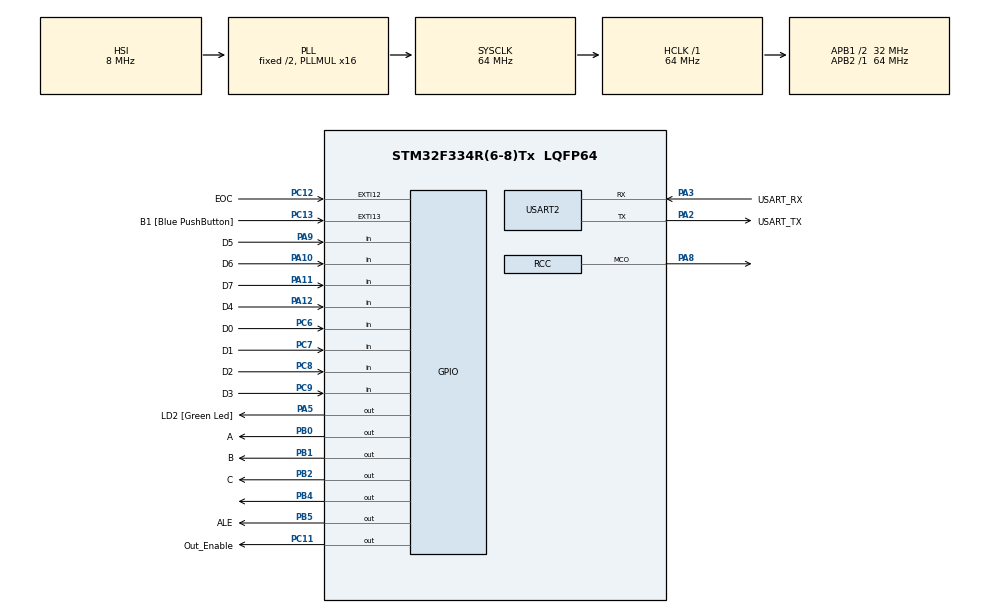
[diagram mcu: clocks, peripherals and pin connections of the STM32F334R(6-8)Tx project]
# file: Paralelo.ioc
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Mcu.Family=STM32F3
Mcu.Name=STM32F334R(6-8)Tx
Mcu.Package=LQFP64
NVIC.PriorityGroup=NVIC_PRIORITYGROUP_0
PA10.GPIO_Label=D6
PA10.Signal=GPIO_Input
PA11.GPIO_Label=D7
PA11.Signal=GPIO_Input
PA12.GPIO_Label=D4
PA12.Signal=GPIO_Input
PA13.GPIO_Label=TMS
PA13.Mode=Serial_Wire
PA13.Signal=SYS_JTMS-SWDIO
PA14.GPIO_Label=TCK
PA14.Mode=Serial_Wire
PA14.Signal=SYS_JTCK-SWCLK
PA2.GPIO_Label=USART_TX
PA2.Mode=Asynchronous
PA2.Signal=USART2_TX
PA3.GPIO_Label=USART_RX
PA3.Mode=Asynchronous
PA3.Signal=USART2_RX
PA5.GPIO_Label=LD2 [Green Led]
PA5.Signal=GPIO_Output
PA8.Mode=Clock-out
PA8.Signal=RCC_MCO
PA9.GPIO_Label=D5
PA9.Signal=GPIO_Input
PB0.GPIO_Label=A
PB0.Signal=GPIO_Output
PB1.GPIO_Label=B
PB1.Signal=GPIO_Output
PB2.GPIO_Label=C
PB2.Signal=GPIO_Output
PB3.GPIO_Label=SWO
PB3.Signal=SYS_JTDO-TRACESWO
PB4.Signal=GPIO_Output
PB5.GPIO_Label=ALE
PB5.Signal=GPIO_Output
PC11.GPIO_Label=Out_Enable
PC11.Signal=GPIO_Output
PC12.GPIO_Label=EOC
PC12.Signal=GPXTI12
PC13.GPIO_Label=B1 [Blue PushButton]
PC13.GPIO_ModeDefaultEXTI=GPIO_MODE_IT_FALLING
PC13.Signal=GPXTI13
PC14\ /\ OSC32_IN.Signal=RCC_OSC32_IN
PC15\ /\ OSC32_OUT.GPIO_Label=RCC_OSC32_OUT
PC15\ /\ OSC32_OUT.Signal=RCC_OSC32_OUT
PC6.GPIO_Label=D0
PC6.Signal=GPIO_Input
PC7.GPIO_Label=D1
PC7.Signal=GPIO_Input
PC8.GPIO_Label=D2
PC8.Signal=GPIO_Input
PC9.GPIO_Label=D3
PC9.Signal=GPIO_Input
PF0\ /\ OSC_IN.Mode=HSE-External-Clock-Source
PF0\ /\ OSC_IN.Signal=RCC_OSC_IN
PF1\ /\ OSC_OUT.Signal=RCC_OSC_OUT
ProjectManager.HeapSize=0x200
ProjectManager.StackSize=0x400
ProjectManager.TargetToolchain=STM32CubeIDE
RCC.AHBFreq_Value=64000000
RCC.APB1CLKDivider=RCC_HCLK_DIV2
RCC.APB1Freq_Value=32000000
RCC.APB1TimFreq_Value=64000000
RCC.APB2Freq_Value=64000000
RCC.APB2TimFreq_Value=64000000
RCC.CortexFreq_Value=64000000
RCC.FLatency-AdvancedSettings=FLASH_LATENCY_2
RCC.HCLKFreq_Value=64000000
RCC.HSE_VALUE=8000000
RCC.HSI_VALUE=8000000
RCC.PLLMUL=RCC_PLL_MUL16
RCC.RCC_MCOSource=RCC_MCO1SOURCE_LSI
RCC.SYSCLKFreq_VALUE=64000000
RCC.SYSCLKSourceVirtual=RCC_SYSCLKSOURCE_PLLCLK
USART2.VirtualMode-Asynchronous=VM_ASYNC
board=NUCLEO-F334R8

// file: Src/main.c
/* USER CODE BEGIN Header */
/**
  ******************************************************************************
  * @file           : main.c
  * @brief          : Main program body
  ******************************************************************************
  * @attention
  *
  * <h2><center>&copy; Copyright (c) 2019 STMicroelectronics.
  * All rights reserved.</center></h2>
  *
  * This software component is licensed by ST under BSD 3-Clause license,
  * the "License"; You may not use this file except in compliance with the
  * License. You may obtain a copy of the License at:
  *                        opensource.org/licenses/BSD-3-Clause
  *
  ******************************************************************************
  */
/* USER CODE END Header */

#include "main.h"

UART_HandleTypeDef huart2;

void SystemClock_Config(void);
static void MX_GPIO_Init(void);
static void MX_USART2_UART_Init(void);

int main(void)
{

  /* MCU Configuration--------------------------------------------------------*/

  /* Reset of all peripherals, Initializes the Flash interface and the Systick. */
  HAL_Init();

  /* Configure the system clock */
  SystemClock_Config();

  /* Initialize all configured peripherals */
  MX_GPIO_Init();
  MX_USART2_UART_Init();
  /* USER CODE BEGIN 2 */
  char add[3] = {0,0,0};
  char ValorLido;

  HAL_GPIO_WritePin(GPIOA, GPIO_PIN_5, (add & 0x01));
  HAL_GPIO_WritePin(GPIOA, GPIO_PIN_6, ((add & 0x02)>>1));
  HAL_GPIO_WritePin(GPIOA, GPIO_PIN_7, ((add & 0x04)>>2));
  /* USER CODE END 2 */

  /* Infinite loop */
  while (1)
  {

  }
}

void SystemClock_Config(void)
{
  RCC_OscInitTypeDef RCC_OscInitStruct = {0};
  RCC_ClkInitTypeDef RCC_ClkInitStruct = {0};

  /** Initializes the CPU, AHB and APB busses clocks
  */
  RCC_OscInitStruct.OscillatorType = RCC_OSCILLATORTYPE_HSI|RCC_OSCILLATORTYPE_LSI;
  RCC_OscInitStruct.HSIState = RCC_HSI_ON;
  RCC_OscInitStruct.HSICalibrationValue = RCC_HSICALIBRATION_DEFAULT;
  RCC_OscInitStruct.LSIState = RCC_LSI_ON;
  RCC_OscInitStruct.PLL.PLLState = RCC_PLL_ON;
  RCC_OscInitStruct.PLL.PLLSource = RCC_PLLSOURCE_HSI;
  RCC_OscInitStruct.PLL.PLLMUL = RCC_PLL_MUL16;
  if (HAL_RCC_OscConfig(&RCC_OscInitStruct) != HAL_OK)
  {
    Error_Handler();
  }
  /** Initializes the CPU, AHB and APB busses clocks
  */
  RCC_ClkInitStruct.ClockType = RCC_CLOCKTYPE_HCLK|RCC_CLOCKTYPE_SYSCLK
                              |RCC_CLOCKTYPE_PCLK1|RCC_CLOCKTYPE_PCLK2;
  RCC_ClkInitStruct.SYSCLKSource = RCC_SYSCLKSOURCE_PLLCLK;
  RCC_ClkInitStruct.AHBCLKDivider = RCC_SYSCLK_DIV1;
  RCC_ClkInitStruct.APB1CLKDivider = RCC_HCLK_DIV2;
  RCC_ClkInitStruct.APB2CLKDivider = RCC_HCLK_DIV1;

  if (HAL_RCC_ClockConfig(&RCC_ClkInitStruct, FLASH_LATENCY_2) != HAL_OK)
  {
    Error_Handler();
  }
  HAL_RCC_MCOConfig(RCC_MCO, RCC_MCO1SOURCE_LSI, RCC_MCODIV_1);
}

static void MX_USART2_UART_Init(void)
{

  huart2.Instance = USART2;
  huart2.Init.BaudRate = 38400;
  huart2.Init.WordLength = UART_WORDLENGTH_8B;
  huart2.Init.StopBits = UART_STOPBITS_1;
  huart2.Init.Parity = UART_PARITY_NONE;
  huart2.Init.Mode = UART_MODE_TX_RX;
  huart2.Init.HwFlowCtl = UART_HWCONTROL_NONE;
  huart2.Init.OverSampling = UART_OVERSAMPLING_16;
  huart2.Init.OneBitSampling = UART_ONE_BIT_SAMPLE_DISABLE;
  huart2.AdvancedInit.AdvFeatureInit = UART_ADVFEATURE_NO_INIT;
  if (HAL_UART_Init(&huart2) != HAL_OK)
  {
    Error_Handler();
  }

}

static void MX_GPIO_Init(void)
{
  GPIO_InitTypeDef GPIO_InitStruct = {0};

  /* GPIO Ports Clock Enable */
  __HAL_RCC_GPIOC_CLK_ENABLE();
  __HAL_RCC_GPIOF_CLK_ENABLE();
  __HAL_RCC_GPIOA_CLK_ENABLE();
  __HAL_RCC_GPIOB_CLK_ENABLE();

  /*Configure GPIO pin Output Level */
  HAL_GPIO_WritePin(LD2_GPIO_Port, LD2_Pin, GPIO_PIN_RESET);

  /*Configure GPIO pin Output Level */
  HAL_GPIO_WritePin(GPIOB, A_Pin|B_Pin|C_Pin|GPIO_PIN_4
                          |ALE_Pin, GPIO_PIN_RESET);

  /*Configure GPIO pin Output Level */
  HAL_GPIO_WritePin(Out_Enable_GPIO_Port, Out_Enable_Pin, GPIO_PIN_RESET);

  /*Configure GPIO pin : B1_Pin */
  GPIO_InitStruct.Pin = B1_Pin;
  GPIO_InitStruct.Mode = GPIO_MODE_IT_FALLING;
  GPIO_InitStruct.Pull = GPIO_NOPULL;
  HAL_GPIO_Init(B1_GPIO_Port, &GPIO_InitStruct);

  /*Configure GPIO pin : LD2_Pin */
  GPIO_InitStruct.Pin = LD2_Pin;
  GPIO_InitStruct.Mode = GPIO_MODE_OUTPUT_PP;
  GPIO_InitStruct.Pull = GPIO_NOPULL;
  GPIO_InitStruct.Speed = GPIO_SPEED_FREQ_LOW;
  HAL_GPIO_Init(LD2_GPIO_Port, &GPIO_InitStruct);

  /*Configure GPIO pins : A_Pin B_Pin C_Pin PB4
                           ALE_Pin */
  GPIO_InitStruct.Pin = A_Pin|B_Pin|C_Pin|GPIO_PIN_4
                          |ALE_Pin;
  GPIO_InitStruct.Mode = GPIO_MODE_OUTPUT_PP;
  GPIO_InitStruct.Pull = GPIO_NOPULL;
  GPIO_InitStruct.Speed = GPIO_SPEED_FREQ_LOW;
  HAL_GPIO_Init(GPIOB, &GPIO_InitStruct);

  /*Configure GPIO pins : D0_Pin D1_Pin D2_Pin D3_Pin */
  GPIO_InitStruct.Pin = D0_Pin|D1_Pin|D2_Pin|D3_Pin;
  GPIO_InitStruct.Mode = GPIO_MODE_INPUT;
  GPIO_InitStruct.Pull = GPIO_NOPULL;
  HAL_GPIO_Init(GPIOC, &GPIO_InitStruct);

  /*Configure GPIO pin : PA8 */
  GPIO_InitStruct.Pin = GPIO_PIN_8;
  GPIO_InitStruct.Mode = GPIO_MODE_AF_PP;
  GPIO_InitStruct.Pull = GPIO_NOPULL;
  GPIO_InitStruct.Speed = GPIO_SPEED_FREQ_LOW;
  GPIO_InitStruct.Alternate = GPIO_AF0_MCO;
  HAL_GPIO_Init(GPIOA, &GPIO_InitStruct);

  /*Configure GPIO pins : D5_Pin D6_Pin D7_Pin D4_Pin */
  GPIO_InitStruct.Pin = D5_Pin|D6_Pin|D7_Pin|D4_Pin;
  GPIO_InitStruct.Mode = GPIO_MODE_INPUT;
  GPIO_InitStruct.Pull = GPIO_NOPULL;
  HAL_GPIO_Init(GPIOA, &GPIO_InitStruct);

  /*Configure GPIO pin : Out_Enable_Pin */
  GPIO_InitStruct.Pin = Out_Enable_Pin;
  GPIO_InitStruct.Mode = GPIO_MODE_OUTPUT_PP;
  GPIO_InitStruct.Pull = GPIO_NOPULL;
  GPIO_InitStruct.Speed = GPIO_SPEED_FREQ_LOW;
  HAL_GPIO_Init(Out_Enable_GPIO_Port, &GPIO_InitStruct);

  /*Configure GPIO pin : EOC_Pin */
  GPIO_InitStruct.Pin = EOC_Pin;
  GPIO_InitStruct.Mode = GPIO_MODE_IT_RISING;
  GPIO_InitStruct.Pull = GPIO_NOPULL;
  HAL_GPIO_Init(EOC_GPIO_Port, &GPIO_InitStruct);

}

/* USER CODE BEGIN 4 */
void HAL_GPIO_EXTI_Callback(uint16_t GPIO_Pin){

	if (GPIO_Pin == EOC){
		//ta pronto
		char bitDado0 = HAL_GPIO_ReadPin(GPIOA, GPIO_PIN_5);;  // Read state
		char bitDado1 = HAL_GPIO_ReadPin(GPIOA, GPIO_PIN_4);;  // Read state
		char bitDado2 = HAL_GPIO_ReadPin(GPIOA, GPIO_PIN_3);;  // Read state
		char bitDado3 = HAL_GPIO_ReadPin(GPIOA, GPIO_PIN_2);;  // Read state
		char bitDado4 = HAL_GPIO_ReadPin(GPIOA, GPIO_PIN_1);;  // Read state
		char bitDado5 = HAL_GPIO_ReadPin(GPIOA, GPIO_PIN_0);;  // Read state
		char bitDado6 = HAL_GPIO_ReadPin(GPIOA, GPIO_PIN_8);;  // Read state
		char bitDado7 = HAL_GPIO_ReadPin(GPIOA, GPIO_PIN_9);;  // Read state

		ValorLido = bitDado0|(bitDado1<<1)|(bitDado2<<2)|(bitDado3<<3)|(bitDado4<<4)|(bitDado5<<5)|(bitDado6<<6)|(bitDado7<<7);
	}
}
/* USER CODE END 4 */

void Error_Handler(void)
{
}

/************************ (C) COPYRIGHT STMicroelectronics *****END OF FILE****/
